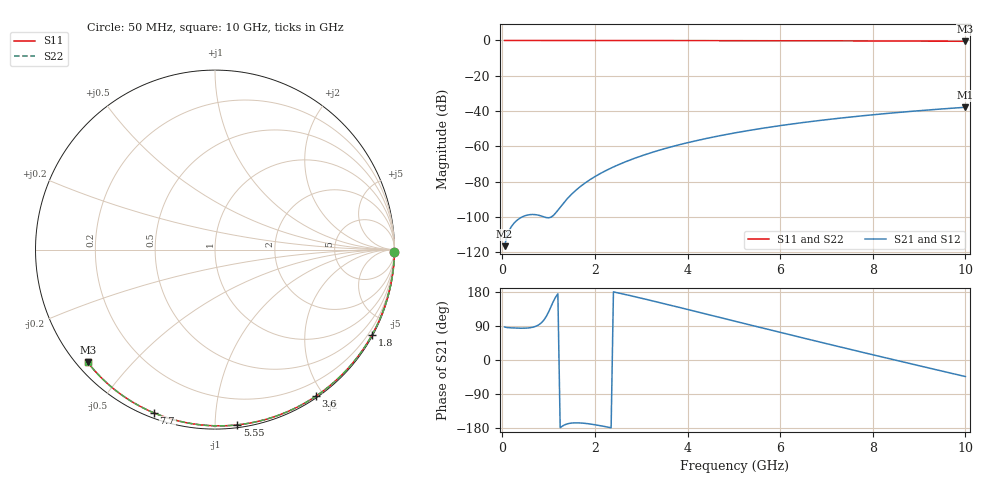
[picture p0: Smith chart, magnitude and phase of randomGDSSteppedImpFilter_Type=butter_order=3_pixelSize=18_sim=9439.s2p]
! freq	dB(S11)	phase(S11)	dB(S12)	phase(S12)
!  dB(S21)	phase(S21)	dB(S22)	phase(S22)
!S-par simulation data
#  GHz  S  DB  R 50
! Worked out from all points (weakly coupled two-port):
!   200 points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, 50 MHz to 10 GHz, reference 50 ohm
!   highest |S21| = -37.85 dB at 10 GHz (marker M1); lowest = -116.6 dB at 50 MHz (marker M2)
!   lowest |S11| = -0.5 dB at 10 GHz (marker M3), VSWR 36.97, Z = 1.55 - j18.9 ohm
!   |S11| at or under -10 dB: nowhere
!   |S22| runs from -0.5 to 0.0 dB; largest |S21 - S12| = 0
!   S11 on the Smith chart (normalised r, x): 50 MHz: open; 1.8 GHz: 0.03, -3.95; 3.6 GHz: 0.02, -1.90; 5.55 GHz: 0.02, -1.14; 7.7 GHz: 0.02, -0.69; 10 GHz: 0.03, -0.38
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0.05  -0.00 -0.8  -116.56 87.1  -116.56 87.1  -0.00 -0.8
0.45  -0.01 -7.2  -99.74 83.9  -99.74 83.9  -0.01 -7.2
0.9  -0.02 -14.3  -99.98 105.7  -99.98 105.7  -0.02 -14.3
1.75  -0.04 -27.6  -81.48 -166.7  -81.48 -166.7  -0.04 -27.6
1.8  -0.04 -28.4  -80.54 -167.3  -80.54 -167.3  -0.04 -28.4
1.85  -0.04 -29.2  -79.64 -168.1  -79.64 -168.1  -0.04 -29.2
2.05  -0.04 -32.2  -76.38 -171.9  -76.38 -171.9  -0.04 -32.2
2.25  -0.05 -35.3  -73.56 -176.5  -73.56 -176.5  -0.05 -35.3
2.55  -0.05 -39.9  -69.93 175.8  -69.93 175.8  -0.05 -39.9
2.95  -0.06 -45.9  -65.89 164.6  -65.89 164.6  -0.06 -45.9
3.4  -0.07 -52.5  -62.10 151.4  -62.10 151.4  -0.07 -52.5
3.6  -0.07 -55.5  -60.62 145.4  -60.62 145.4  -0.07 -55.5
3.9  -0.08 -59.8  -58.57 136.4  -58.57 136.4  -0.08 -59.8
4.3  -0.09 -65.5  -56.13 124.3  -56.13 124.3  -0.09 -65.5
5.05  -0.12 -76.0  -52.24 101.6  -52.24 101.6  -0.12 -76.0
5.55  -0.14 -82.7  -50.04 86.5  -50.04 86.5  -0.14 -82.7
6.1  -0.16 -90.1  -47.89 70.0  -47.89 70.0  -0.16 -90.0
6.7  -0.19 -97.8  -45.82 52.1  -45.82 52.1  -0.19 -97.8
7.7  -0.25 -110.5  -42.89 22.6  -42.89 22.6  -0.25 -110.5
8.35  -0.30 -118.5  -41.26 3.7  -41.26 3.7  -0.30 -118.5
9.2  -0.38 -128.8  -39.38 -20.8  -39.38 -20.8  -0.38 -128.8
10  -0.47 -138.5  -37.85 -43.7  -37.85 -43.7  -0.47 -138.5
